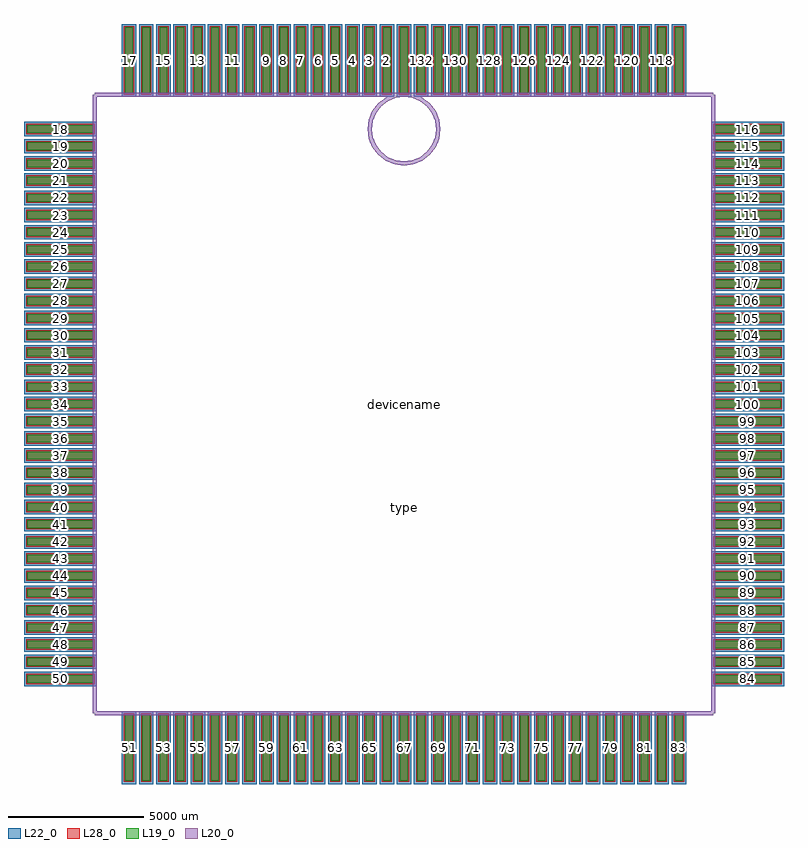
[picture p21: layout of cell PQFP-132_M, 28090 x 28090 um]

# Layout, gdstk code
import gdstk
lib = gdstk.Library(unit=1e-6, precision=1e-09)
def R(c, l, rs):  # rectangles x0, y0, x1, y1
    for r in rs: c.add(gdstk.rectangle(r[:2], r[2:], *l))
def A(c, l, x, y, w, h, nx, ny, dx, dy):  # array of equal rectangles
    R(c, l, [(x+i*dx, y+j*dy, x+i*dx+w, y+j*dy+h) for i in range(nx) for j in range(ny)])
L19_0 = (19, 0)
L20_0 = (20, 0)
L22_0 = (22, 0)
L28_0 = (28, 0)

pqfp_132_m = lib.new_cell('PQFP-132_M')
A(pqfp_132_m, L19_0, -10300.5, -13920, 281, 2440, 33, 2, 635, 25400)
A(pqfp_132_m, L19_0, -13920, -10300.5, 2440, 281, 1, 33, 0, 635)
A(pqfp_132_m, L19_0, 11480, -10300.5, 2440, 281, 1, 33, 0, 635)
A(pqfp_132_m, L22_0, -10425.5, -14045, 531, 2690, 33, 2, 635, 25400)
A(pqfp_132_m, L22_0, -14045, -10425.5, 2690, 531, 1, 33, 0, 635)
A(pqfp_132_m, L22_0, 11355, -10425.5, 2690, 531, 1, 33, 0, 635)
A(pqfp_132_m, L28_0, -10350.5, -13970, 381, 2540, 33, 2, 635, 25400)
A(pqfp_132_m, L28_0, -13970, -10350.5, 2540, 381, 1, 33, 0, 635)
A(pqfp_132_m, L28_0, 11430, -10350.5, 2540, 381, 1, 33, 0, 635)
pqfp_132_m.add(gdstk.FlexPath([(-11430,-11430),(-11430,11430)], 149.998, ends="flush", simple_path=True, layer=20, datatype=0))  # L20_0
pqfp_132_m.add(gdstk.FlexPath([(11430,-11430),(-11430,-11430)], 149.998, ends="flush", simple_path=True, layer=20, datatype=0))  # L20_0
pqfp_132_m.add(gdstk.FlexPath([(11430,11430),(11430,-11430)], 149.998, ends="flush", simple_path=True, layer=20, datatype=0))  # L20_0
pqfp_132_m.add(gdstk.FlexPath([(-11430,11430),(11430,11430)], 149.998, ends="flush", simple_path=True, layer=20, datatype=0))  # L20_0
pqfp_132_m.add(gdstk.FlexPath([(0,11430),(-328.7,11386.726),(-635,11259.852),(-898.026,11058.026),(-1099.852,10795),(-1226.726,10488.7),(-1270,10160),(-1226.726,9831.3),(-1099.852,9525),(-898.026,9261.974),(-635,9060.148),(-328.7,8933.274),(0,8890),(328.7,8933.274),(635,9060.148),(898.026,9261.974),(1099.852,9525),(1226.726,9831.3),(1270,10160),(1226.726,10488.7),(1099.852,10795),(898.026,11058.026),(635,11259.852),(328.7,11386.726),(0,11430)], 149.998, ends="flush", simple_path=True, layer=20, datatype=0))  # L20_0
pqfp_132_m.add(gdstk.Label('69', (1270,-12700), layer=28, texttype=0))
pqfp_132_m.add(gdstk.Label('83', (10160,-12700), layer=28, texttype=0))
pqfp_132_m.add(gdstk.Label('82', (9525,-12700), layer=28, texttype=0))
pqfp_132_m.add(gdstk.Label('81', (8890,-12700), layer=28, texttype=0))
pqfp_132_m.add(gdstk.Label('80', (8255,-12700), layer=28, texttype=0))
pqfp_132_m.add(gdstk.Label('79', (7620,-12700), layer=28, texttype=0))
pqfp_132_m.add(gdstk.Label('78', (6985,-12700), layer=28, texttype=0))
pqfp_132_m.add(gdstk.Label('77', (6350,-12700), layer=28, texttype=0))
pqfp_132_m.add(gdstk.Label('76', (5715,-12700), layer=28, texttype=0))
pqfp_132_m.add(gdstk.Label('75', (5080,-12700), layer=28, texttype=0))
pqfp_132_m.add(gdstk.Label('74', (4445,-12700), layer=28, texttype=0))
pqfp_132_m.add(gdstk.Label('73', (3810,-12700), layer=28, texttype=0))
pqfp_132_m.add(gdstk.Label('72', (3175,-12700), layer=28, texttype=0))
pqfp_132_m.add(gdstk.Label('71', (2540,-12700), layer=28, texttype=0))
pqfp_132_m.add(gdstk.Label('70', (1905,-12700), layer=28, texttype=0))
pqfp_132_m.add(gdstk.Label('68', (635,-12700), layer=28, texttype=0))
pqfp_132_m.add(gdstk.Label('67', (0,-12700), layer=28, texttype=0))
pqfp_132_m.add(gdstk.Label('66', (-635,-12700), layer=28, texttype=0))
pqfp_132_m.add(gdstk.Label('65', (-1270,-12700), layer=28, texttype=0))
pqfp_132_m.add(gdstk.Label('64', (-1905,-12700), layer=28, texttype=0))
pqfp_132_m.add(gdstk.Label('63', (-2540,-12700), layer=28, texttype=0))
pqfp_132_m.add(gdstk.Label('62', (-3175,-12700), layer=28, texttype=0))
pqfp_132_m.add(gdstk.Label('61', (-3810,-12700), layer=28, texttype=0))
pqfp_132_m.add(gdstk.Label('60', (-4445,-12700), layer=28, texttype=0))
pqfp_132_m.add(gdstk.Label('59', (-5080,-12700), layer=28, texttype=0))
pqfp_132_m.add(gdstk.Label('58', (-5715,-12700), layer=28, texttype=0))
pqfp_132_m.add(gdstk.Label('57', (-6350,-12700), layer=28, texttype=0))
pqfp_132_m.add(gdstk.Label('56', (-6985,-12700), layer=28, texttype=0))
pqfp_132_m.add(gdstk.Label('55', (-7620,-12700), layer=28, texttype=0))
pqfp_132_m.add(gdstk.Label('54', (-8255,-12700), layer=28, texttype=0))
pqfp_132_m.add(gdstk.Label('53', (-8890,-12700), layer=28, texttype=0))
pqfp_132_m.add(gdstk.Label('52', (-9525,-12700), layer=28, texttype=0))
pqfp_132_m.add(gdstk.Label('51', (-10160,-12700), layer=28, texttype=0))
pqfp_132_m.add(gdstk.Label('132', (635,12700), layer=28, texttype=0))
pqfp_132_m.add(gdstk.Label('131', (1270,12700), layer=28, texttype=0))
pqfp_132_m.add(gdstk.Label('130', (1905,12700), layer=28, texttype=0))
pqfp_132_m.add(gdstk.Label('129', (2540,12700), layer=28, texttype=0))
pqfp_132_m.add(gdstk.Label('128', (3175,12700), layer=28, texttype=0))
pqfp_132_m.add(gdstk.Label('127', (3810,12700), layer=28, texttype=0))
pqfp_132_m.add(gdstk.Label('126', (4445,12700), layer=28, texttype=0))
pqfp_132_m.add(gdstk.Label('125', (5080,12700), layer=28, texttype=0))
pqfp_132_m.add(gdstk.Label('124', (5715,12700), layer=28, texttype=0))
pqfp_132_m.add(gdstk.Label('123', (6350,12700), layer=28, texttype=0))
pqfp_132_m.add(gdstk.Label('122', (6985,12700), layer=28, texttype=0))
pqfp_132_m.add(gdstk.Label('121', (7620,12700), layer=28, texttype=0))
pqfp_132_m.add(gdstk.Label('120', (8255,12700), layer=28, texttype=0))
pqfp_132_m.add(gdstk.Label('119', (8890,12700), layer=28, texttype=0))
pqfp_132_m.add(gdstk.Label('118', (9525,12700), layer=28, texttype=0))
pqfp_132_m.add(gdstk.Label('117', (10160,12700), layer=28, texttype=0))
pqfp_132_m.add(gdstk.Label('116', (12700,10160), layer=28, texttype=0))
pqfp_132_m.add(gdstk.Label('115', (12700,9525), layer=28, texttype=0))
pqfp_132_m.add(gdstk.Label('114', (12700,8890), layer=28, texttype=0))
pqfp_132_m.add(gdstk.Label('113', (12700,8255), layer=28, texttype=0))
pqfp_132_m.add(gdstk.Label('112', (12700,7620), layer=28, texttype=0))
pqfp_132_m.add(gdstk.Label('111', (12700,6985), layer=28, texttype=0))
pqfp_132_m.add(gdstk.Label('110', (12700,6350), layer=28, texttype=0))
pqfp_132_m.add(gdstk.Label('109', (12700,5715), layer=28, texttype=0))
pqfp_132_m.add(gdstk.Label('108', (12700,5080), layer=28, texttype=0))
pqfp_132_m.add(gdstk.Label('107', (12700,4445), layer=28, texttype=0))
pqfp_132_m.add(gdstk.Label('106', (12700,3810), layer=28, texttype=0))
pqfp_132_m.add(gdstk.Label('105', (12700,3175), layer=28, texttype=0))
pqfp_132_m.add(gdstk.Label('104', (12700,2540), layer=28, texttype=0))
pqfp_132_m.add(gdstk.Label('103', (12700,1905), layer=28, texttype=0))
pqfp_132_m.add(gdstk.Label('102', (12700,1270), layer=28, texttype=0))
pqfp_132_m.add(gdstk.Label('101', (12700,635), layer=28, texttype=0))
pqfp_132_m.add(gdstk.Label('100', (12700,0), layer=28, texttype=0))
pqfp_132_m.add(gdstk.Label('99', (12700,-635), layer=28, texttype=0))
pqfp_132_m.add(gdstk.Label('98', (12700,-1270), layer=28, texttype=0))
pqfp_132_m.add(gdstk.Label('97', (12700,-1905), layer=28, texttype=0))
pqfp_132_m.add(gdstk.Label('96', (12700,-2540), layer=28, texttype=0))
pqfp_132_m.add(gdstk.Label('95', (12700,-3175), layer=28, texttype=0))
pqfp_132_m.add(gdstk.Label('94', (12700,-3810), layer=28, texttype=0))
pqfp_132_m.add(gdstk.Label('93', (12700,-4445), layer=28, texttype=0))
pqfp_132_m.add(gdstk.Label('92', (12700,-5080), layer=28, texttype=0))
pqfp_132_m.add(gdstk.Label('91', (12700,-5715), layer=28, texttype=0))
pqfp_132_m.add(gdstk.Label('90', (12700,-6350), layer=28, texttype=0))
pqfp_132_m.add(gdstk.Label('89', (12700,-6985), layer=28, texttype=0))
pqfp_132_m.add(gdstk.Label('88', (12700,-7620), layer=28, texttype=0))
pqfp_132_m.add(gdstk.Label('87', (12700,-8255), layer=28, texttype=0))
pqfp_132_m.add(gdstk.Label('86', (12700,-8890), layer=28, texttype=0))
pqfp_132_m.add(gdstk.Label('85', (12700,-9525), layer=28, texttype=0))
pqfp_132_m.add(gdstk.Label('84', (12700,-10160), layer=28, texttype=0))
pqfp_132_m.add(gdstk.Label('50', (-12700,-10160), layer=28, texttype=0))
pqfp_132_m.add(gdstk.Label('49', (-12700,-9525), layer=28, texttype=0))
pqfp_132_m.add(gdstk.Label('48', (-12700,-8890), layer=28, texttype=0))
pqfp_132_m.add(gdstk.Label('47', (-12700,-8255), layer=28, texttype=0))
pqfp_132_m.add(gdstk.Label('46', (-12700,-7620), layer=28, texttype=0))
pqfp_132_m.add(gdstk.Label('45', (-12700,-6985), layer=28, texttype=0))
pqfp_132_m.add(gdstk.Label('44', (-12700,-6350), layer=28, texttype=0))
pqfp_132_m.add(gdstk.Label('43', (-12700,-5715), layer=28, texttype=0))
pqfp_132_m.add(gdstk.Label('42', (-12700,-5080), layer=28, texttype=0))
pqfp_132_m.add(gdstk.Label('41', (-12700,-4445), layer=28, texttype=0))
pqfp_132_m.add(gdstk.Label('40', (-12700,-3810), layer=28, texttype=0))
pqfp_132_m.add(gdstk.Label('39', (-12700,-3175), layer=28, texttype=0))
pqfp_132_m.add(gdstk.Label('38', (-12700,-2540), layer=28, texttype=0))
pqfp_132_m.add(gdstk.Label('37', (-12700,-1905), layer=28, texttype=0))
pqfp_132_m.add(gdstk.Label('36', (-12700,-1270), layer=28, texttype=0))
pqfp_132_m.add(gdstk.Label('35', (-12700,-635), layer=28, texttype=0))
pqfp_132_m.add(gdstk.Label('34', (-12700,0), layer=28, texttype=0))
pqfp_132_m.add(gdstk.Label('33', (-12700,635), layer=28, texttype=0))
pqfp_132_m.add(gdstk.Label('32', (-12700,1270), layer=28, texttype=0))
pqfp_132_m.add(gdstk.Label('31', (-12700,1905), layer=28, texttype=0))
pqfp_132_m.add(gdstk.Label('30', (-12700,2540), layer=28, texttype=0))
pqfp_132_m.add(gdstk.Label('29', (-12700,3175), layer=28, texttype=0))
pqfp_132_m.add(gdstk.Label('28', (-12700,3810), layer=28, texttype=0))
pqfp_132_m.add(gdstk.Label('27', (-12700,4445), layer=28, texttype=0))
pqfp_132_m.add(gdstk.Label('26', (-12700,5080), layer=28, texttype=0))
pqfp_132_m.add(gdstk.Label('25', (-12700,5715), layer=28, texttype=0))
pqfp_132_m.add(gdstk.Label('24', (-12700,6350), layer=28, texttype=0))
pqfp_132_m.add(gdstk.Label('23', (-12700,6985), layer=28, texttype=0))
pqfp_132_m.add(gdstk.Label('22', (-12700,7620), layer=28, texttype=0))
pqfp_132_m.add(gdstk.Label('21', (-12700,8255), layer=28, texttype=0))
pqfp_132_m.add(gdstk.Label('20', (-12700,8890), layer=28, texttype=0))
pqfp_132_m.add(gdstk.Label('19', (-12700,9525), layer=28, texttype=0))
pqfp_132_m.add(gdstk.Label('18', (-12700,10160), layer=28, texttype=0))
pqfp_132_m.add(gdstk.Label('17', (-10160,12700), layer=28, texttype=0))
pqfp_132_m.add(gdstk.Label('16', (-9525,12700), layer=28, texttype=0))
pqfp_132_m.add(gdstk.Label('15', (-8890,12700), layer=28, texttype=0))
pqfp_132_m.add(gdstk.Label('14', (-8255,12700), layer=28, texttype=0))
pqfp_132_m.add(gdstk.Label('13', (-7620,12700), layer=28, texttype=0))
pqfp_132_m.add(gdstk.Label('12', (-6985,12700), layer=28, texttype=0))
pqfp_132_m.add(gdstk.Label('11', (-6350,12700), layer=28, texttype=0))
pqfp_132_m.add(gdstk.Label('10', (-5715,12700), layer=28, texttype=0))
pqfp_132_m.add(gdstk.Label('9', (-5080,12700), layer=28, texttype=0))
pqfp_132_m.add(gdstk.Label('8', (-4445,12700), layer=28, texttype=0))
pqfp_132_m.add(gdstk.Label('7', (-3810,12700), layer=28, texttype=0))
pqfp_132_m.add(gdstk.Label('6', (-3175,12700), layer=28, texttype=0))
pqfp_132_m.add(gdstk.Label('5', (-2540,12700), layer=28, texttype=0))
pqfp_132_m.add(gdstk.Label('4', (-1905,12700), layer=28, texttype=0))
pqfp_132_m.add(gdstk.Label('3', (-1270,12700), layer=28, texttype=0))
pqfp_132_m.add(gdstk.Label('2', (-635,12700), layer=28, texttype=0))
pqfp_132_m.add(gdstk.Label('1', (0,12700), layer=28, texttype=0))
pqfp_132_m.add(gdstk.Label('type', (0,-3810), layer=9, texttype=0))
pqfp_132_m.add(gdstk.Label('devicename', (0,0), layer=9, texttype=0))

lib.write_gds('PQFP-132_M.gds')
